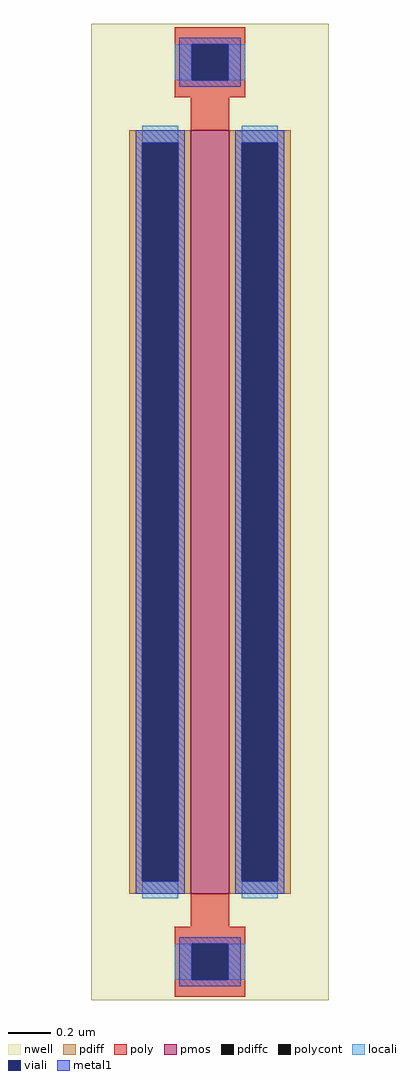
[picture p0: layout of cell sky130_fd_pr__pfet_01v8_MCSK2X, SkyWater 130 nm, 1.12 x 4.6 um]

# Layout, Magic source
magic
tech sky130A
magscale 1 2
<< nwell >>
rect -112 -460 112 460
<< pmos >>
rect -18 -360 18 360
<< pdiff >>
rect -76 348 -18 360
rect -76 -348 -64 348
rect -30 -348 -18 348
rect -76 -360 -18 -348
rect 18 348 76 360
rect 18 -348 30 348
rect 64 -348 76 348
rect 18 -360 76 -348
<< pdiffc >>
rect -64 -348 -30 348
rect 30 -348 64 348
<< poly >>
rect -33 441 33 457
rect -33 407 -17 441
rect 17 407 33 441
rect -33 391 33 407
rect -18 360 18 391
rect -18 -391 18 -360
rect -33 -407 33 -391
rect -33 -441 -17 -407
rect 17 -441 33 -407
rect -33 -457 33 -441
<< polycont >>
rect -17 407 17 441
rect -17 -441 17 -407
<< locali >>
rect -33 407 -17 441
rect 17 407 33 441
rect -64 348 -30 364
rect -64 -364 -30 -348
rect 30 348 64 364
rect 30 -364 64 -348
rect -33 -441 -17 -407
rect 17 -441 33 -407
<< viali >>
rect -17 407 17 441
rect -64 -348 -30 348
rect 30 -348 64 348
rect -17 -441 17 -407
<< metal1 >>
rect -29 441 29 447
rect -29 407 -17 441
rect 17 407 29 441
rect -29 401 29 407
rect -70 348 -24 360
rect -70 -348 -64 348
rect -30 -348 -24 348
rect -70 -360 -24 -348
rect 24 348 70 360
rect 24 -348 30 348
rect 64 -348 70 348
rect 24 -360 70 -348
rect -29 -407 29 -401
rect -29 -441 -17 -407
rect 17 -441 29 -407
rect -29 -447 29 -441
<< properties >>
string gencell sky130_fd_pr__pfet_01v8
string library sky130
string parameters w 3.6 l 0.18 m 1 nf 1 diffcov 100 polycov 100 guard 0 glc 1 grc 1 gtc 1 gbc 1 tbcov 100 rlcov 100 topc 1 botc 1 poverlap 0 doverlap 1 lmin 0.15 wmin 0.42 compatible {sky130_fd_pr__pfet_01v8  sky130_fd_pr__pfet_01v8_lvt sky130_fd_pr__pfet_01v8_hvt  sky130_fd_pr__pfet_g5v0d10v5} full_metal 1 viasrc 100 viadrn 100 viagate 100 viagb 0 viagr 0 viagl 0 viagt 0
<< end >>
